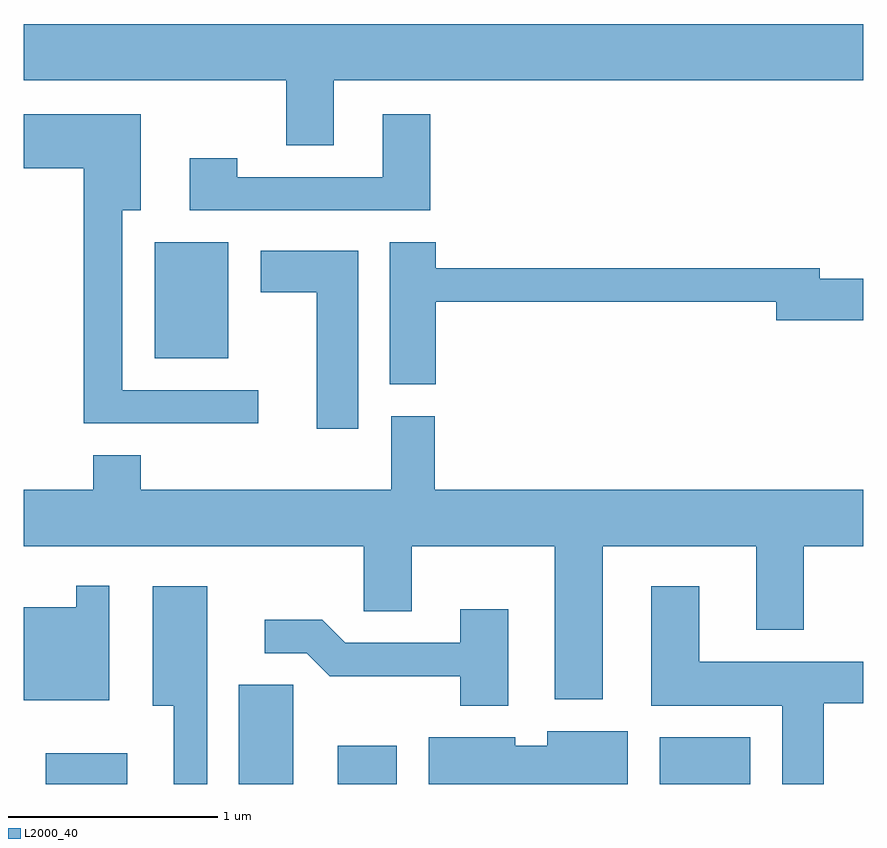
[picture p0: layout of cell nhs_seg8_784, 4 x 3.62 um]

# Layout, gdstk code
import gdstk
lib = gdstk.Library(unit=1e-6, precision=1e-09)
def R(c, l, rs):  # rectangles x0, y0, x1, y1
    for r in rs: c.add(gdstk.rectangle(r[:2], r[2:], *l))
def P(c, l, *ps):  # polygons
    for p in ps: c.add(gdstk.Polygon(p, *l))
L2000_40 = (2000, 40)

nhs_seg8_784 = lib.new_cell('nhs_seg8_784')
R(nhs_seg8_784, L2000_40, [(207.716,1886.342,208.104,1886.489), (208.636,1886.342,208.894,1886.814), (209.106,1886.342,209.389,1886.524), (210.641,1886.342,211.074,1886.564), (208.236,1888.371,208.584,1888.924)])
P(nhs_seg8_784, L2000_40, [(209.089,1889.696),(211.611,1889.696),(211.611,1889.964),(207.611,1889.964),(207.611,1889.696),(208.861,1889.696),(208.861,1889.386),(209.089,1889.386)],
  [(208.728,1888.219),(208.079,1888.219),(208.079,1889.076),(208.169,1889.076),(208.169,1889.534),(207.611,1889.534),(207.611,1889.276),(207.896,1889.276),(207.896,1888.061),(208.728,1888.061)],
  [(209.549,1889.534),(209.321,1889.534),(209.321,1889.234),(208.629,1889.234),(208.629,1889.324),(208.401,1889.324),(208.401,1889.076),(209.549,1889.076)],
  [(209.574,1888.641),(211.196,1888.641),(211.196,1888.551),(211.611,1888.551),(211.611,1888.749),(211.404,1888.749),(211.404,1888.799),(209.574,1888.799),(209.574,1888.924),(209.356,1888.924),(209.356,1888.246),(209.574,1888.246)],
  [(209.204,1888.884),(208.741,1888.884),(208.741,1888.686),(209.006,1888.686),(209.006,1888.036),(209.204,1888.036)],
  [(210.369,1887.476),(211.101,1887.476),(211.101,1887.076),(211.329,1887.076),(211.329,1887.476),(211.611,1887.476),(211.611,1887.744),(209.569,1887.744),(209.569,1888.094),(209.361,1888.094),(209.361,1887.744),(208.169,1887.744),(208.169,1887.909),(207.941,1887.909),(207.941,1887.744),(207.611,1887.744),(207.611,1887.476),(209.231,1887.476),(209.231,1887.166),(209.459,1887.166),(209.459,1887.476),(210.141,1887.476),(210.141,1886.746),(210.369,1886.746)],
  [(208.019,1887.288),(207.861,1887.288),(207.861,1887.184),(207.611,1887.184),(207.611,1886.741),(208.019,1886.741)],
  [(211.424,1886.726),(211.611,1886.726),(211.611,1886.924),(210.829,1886.924),(210.829,1887.284),(210.601,1887.284),(210.601,1886.716),(211.226,1886.716),(211.226,1886.342),(211.424,1886.342)],
  [(208.484,1887.284),(208.226,1887.284),(208.226,1886.716),(208.326,1886.716),(208.326,1886.342),(208.484,1886.342)],
  [(209.919,1887.174),(209.691,1887.174),(209.691,1887.014),(209.142,1887.014),(209.032,1887.124),(208.758,1887.124),(208.758,1886.966),(208.959,1886.966),(209.069,1886.856),(209.691,1886.856),(209.691,1886.716),(209.919,1886.716)],
  [(210.489,1886.594),(210.106,1886.594),(210.106,1886.524),(209.954,1886.524),(209.954,1886.564),(209.541,1886.564),(209.541,1886.342),(210.489,1886.342)])

lib.write_gds('nhs_seg8_784.gds')
